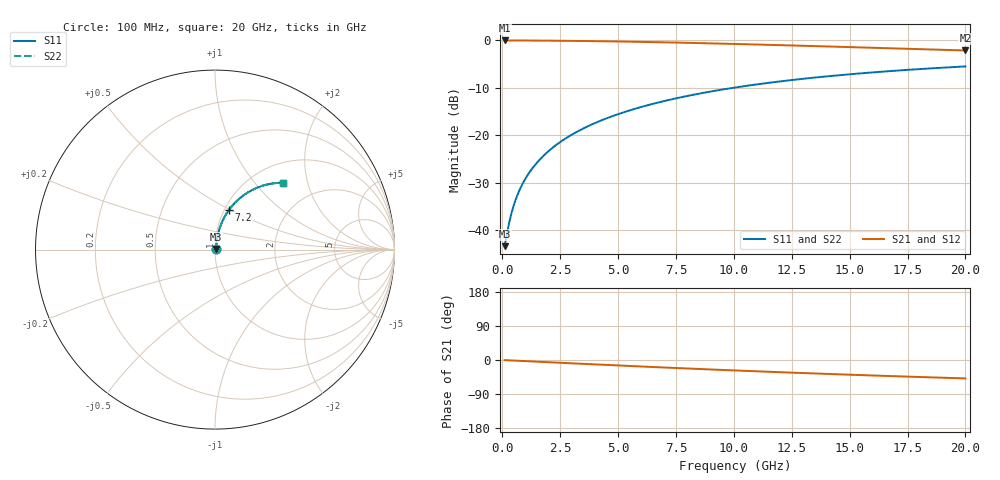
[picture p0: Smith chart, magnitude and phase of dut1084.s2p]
! Touchstone file exported from HFSS 2024.1.0
!  File:  C:/UserFiles/LocalFiles/RDL_TSV_Batchsim/temp_RDL_bottom_1084_1780053296.aedt
!  Generated:  07:17:30 PM May 29, 2026
!  Design:  RDL_bottom
!  Project:  temp_RDL_bottom_1084_1780053296
!  Setup:  Setup1
!  Solution:  Sweep
! Variables:
!  dtsv = 10.80580581um
!  hbump = 3um
!  htsv = 99.32um
!  ldown = 626.69um
!  lrdl = 100um
!  p = 40
!  p1 = 51.53um
!  rhole = 1um
!  t = 450um
!  tdown = 3.21um
!  trdl = 3.915915916um
!  wdown = 12.02um
!  wrdl = 20um
# GHz S MA R 50.000000
! Terminal data exported
! Port[1] = RDL1_T1
! Port[2] = RDL1_T2
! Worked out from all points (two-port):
!   200 points, 100 MHz to 20 GHz, reference 50 ohm
!   highest |S21| = -0.05 dB at 100 MHz (marker M1); lowest = -2.2 dB at 20 GHz (marker M2)
!   |S21| within 3 dB of the highest: start of sweep to end of sweep
!   lowest |S11| = -43.4 dB at 100 MHz (marker M3), VSWR 1.01, Z = 50.6 + j0.353 ohm
!   |S11| at or under -10 dB: start of sweep to 10.01 GHz
!   |S22| runs from -43.4 to -5.5 dB; largest |S21 - S12| = 2.4e-15
!   S11 on the Smith chart (normalised r, x): 100 MHz: 1.01, +0.01; 7.2 GHz: 1.05, +0.49; 20 GHz: 1.37, +1.41
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0.1  0.006767 31.1  0.9942 -0.3  0.9942 -0.3  0.006767 31.1
! Gamma 0 0 0 0
! Port Impedance 50 0 50 0
0.3  0.01205 59.8  0.994 -0.9  0.994 -0.9  0.01205 59.8
0.4  0.01519 65.7  0.9938 -1.2  0.9938 -1.2  0.01519 65.7
0.5  0.01841 69.4  0.9936 -1.5  0.9936 -1.5  0.01841 69.4
0.6  0.02167 71.9  0.9934 -1.8  0.9934 -1.8  0.02167 71.9
0.8  0.02823 75.0  0.993 -2.4  0.993 -2.4  0.02823 75.0
1.1  0.03813 77.5  0.9923 -3.3  0.9923 -3.3  0.03813 77.5
1.5  0.05139 78.9  0.9912 -4.4  0.9912 -4.4  0.05139 78.9
1.8  0.06135 79.3  0.9901 -5.3  0.9901 -5.3  0.06135 79.3
2.1  0.07132 79.4  0.989 -6.2  0.989 -6.2  0.07132 79.4
2.7  0.09122 79.0  0.9862 -7.9  0.9862 -7.9  0.09122 79.1
3.5  0.1176 78.0  0.9815 -10.2  0.9815 -10.2  0.1176 78.0
4.2  0.1405 76.8  0.9766 -12.2  0.9766 -12.2  0.1405 76.8
5  0.1664 75.2  0.97 -14.4  0.97 -14.4  0.1664 75.2
5.9  0.1949 73.4  0.9617 -16.9  0.9617 -16.9  0.195 73.4
6.8  0.2229 71.4  0.9525 -19.3  0.9525 -19.3  0.2229 71.4
7.2  0.2351 70.5  0.9481 -20.4  0.9481 -20.4  0.2351 70.6
8.6  0.2766 67.4  0.9318 -24.0  0.9318 -24.0  0.2766 67.5
10.1  0.3187 64.1  0.9129 -27.7  0.9129 -27.7  0.3188 64.1
13.4  0.402 57.1  0.8685 -35.4  0.8685 -35.4  0.4021 57.1
16.7  0.4721 50.6  0.8233 -42.3  0.8233 -42.3  0.4723 50.6
20  0.5297 44.6  0.7798 -48.6  0.7798 -48.6  0.5299 44.7
